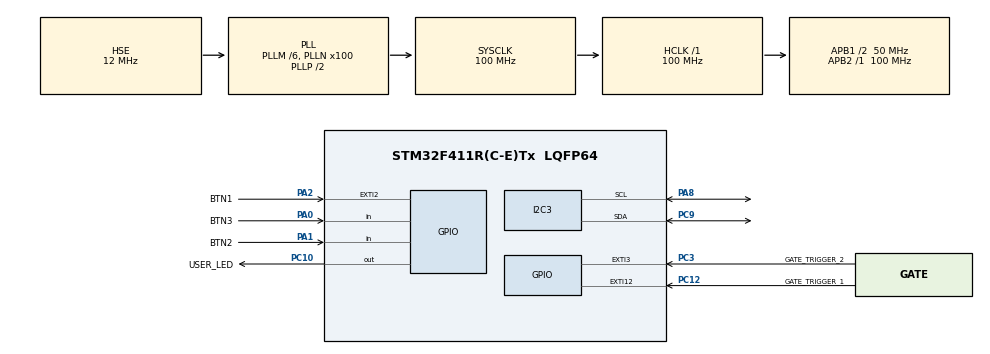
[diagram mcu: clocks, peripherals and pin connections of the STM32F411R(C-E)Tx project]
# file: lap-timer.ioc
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I2C3.I2C_Mode=I2C_Fast
Mcu.Family=STM32F4
Mcu.Name=STM32F411R(C-E)Tx
Mcu.Package=LQFP64
NVIC.EXTI15_10_IRQn=true\:0\:0\:false\:false\:true\:true\:true\:true
NVIC.EXTI2_IRQn=true\:0\:0\:false\:false\:true\:true\:true\:true
NVIC.EXTI3_IRQn=true\:0\:0\:false\:false\:true\:true\:true\:true
NVIC.PriorityGroup=NVIC_PRIORITYGROUP_4
PA0-WKUP.GPIO_Label=BTN3
PA0-WKUP.GPIO_PuPd=GPIO_PULLUP
PA0-WKUP.Signal=GPIO_Input
PA1.GPIO_Label=BTN2
PA1.GPIO_PuPd=GPIO_PULLUP
PA1.Signal=GPIO_Input
PA2.GPIO_Label=BTN1
PA2.GPIO_PuPd=GPIO_PULLUP
PA2.Signal=GPXTI2
PA8.Mode=I2C
PA8.Signal=I2C3_SCL
PC10.GPIO_Label=USER_LED
PC10.Signal=GPIO_Output
PC12.GPIO_Label=GATE_TRIGGER_1
PC12.GPIO_ModeDefaultEXTI=GPIO_MODE_IT_RISING
PC12.GPIO_PuPd=GPIO_PULLUP
PC12.Signal=GPXTI12
PC3.GPIO_Label=GATE_TRIGGER_2
PC3.GPIO_PuPd=GPIO_PULLUP
PC3.Signal=GPXTI3
PC9.Mode=I2C
PC9.Signal=I2C3_SDA
PH0\ -\ OSC_IN.Mode=HSE-External-Oscillator
PH0\ -\ OSC_IN.Signal=RCC_OSC_IN
PH1\ -\ OSC_OUT.Mode=HSE-External-Oscillator
PH1\ -\ OSC_OUT.Signal=RCC_OSC_OUT
ProjectManager.HeapSize=0x200
ProjectManager.StackSize=0x400
ProjectManager.TargetToolchain=STM32CubeIDE
RCC.48MHZClocksFreq_Value=50000000
RCC.AHBFreq_Value=100000000
RCC.APB1CLKDivider=RCC_HCLK_DIV2
RCC.APB1Freq_Value=50000000
RCC.APB1TimFreq_Value=100000000
RCC.APB2Freq_Value=100000000
RCC.APB2TimFreq_Value=100000000
RCC.CortexFreq_Value=100000000
RCC.HCLKFreq_Value=100000000
RCC.HSE_VALUE=12000000
RCC.HSI_VALUE=16000000
RCC.LSE_VALUE=32768
RCC.PLLM=6
RCC.PLLN=100
RCC.PLLSourceVirtual=RCC_PLLSOURCE_HSE
RCC.SYSCLKFreq_VALUE=100000000
RCC.SYSCLKSource=RCC_SYSCLKSOURCE_PLLCLK
RCC.VCOOutputFreq_Value=200000000
TIM2.Prescaler=999
VP_TIM2_VS_ClockSourceINT.Mode=Internal
board=custom

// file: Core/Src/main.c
/* USER CODE BEGIN Header */
/**
  ******************************************************************************
  * @file           : main.c
  * @author         : Dominik Pluta
  * @brief          : Lap timer code
  *                   Measure time between interrupts from IR sensor and display
  *                   it on OLED display
  * @version        : 1.0.0
  * @date           : 28.12.2025
  ******************************************************************************
  */
/* USER CODE END Header */
#include "main.h"

/* USER CODE BEGIN Includes */
#include "display.h"
#include "sprites.h"
#include <stdio.h> // For sprintf
/* USER CODE END Includes */

/* USER CODE BEGIN PD */
// STM32F411RE Sector 7 address (128KB sector)
#define FLASH_STORAGE_ADDR 0x08060000
/* USER CODE END PD */

I2C_HandleTypeDef hi2c3;

TIM_HandleTypeDef htim2;

/* USER CODE BEGIN PV */
volatile uint8_t timer_state = 0; // 0: IDLE, 1: RUNNING, 2: FINISHED
volatile uint32_t captured_time_ticks = 0;
volatile uint32_t last_trigger_sys_time = 0;

uint32_t best_time_ticks = 0xFFFFFFFF; // Default to "Empty"

#define TIME_DISPLAY_X 1
#define TIME_DISPLAY_Y 22

// DISPLAY RESOLUTION MODES
typedef enum {
    RES_MODE_MS,   // Minutes : Seconds : Milliseconds  (MM:SS:MMM)
    RES_MODE_US    // Seconds : Milliseconds : Microsec (SSS:MMM:UUU) (microsec resolution down to 10us ticks)
} display_res_mode_t;

volatile display_res_mode_t display_mode = RES_MODE_MS;
/* USER CODE END PV */

void SystemClock_Config(void);
static void MX_GPIO_Init(void);
static void MX_I2C3_Init(void);
static void MX_TIM2_Init(void);

/* USER CODE BEGIN 0 */

// --- INTERRUPT CALLBACK ---
void HAL_GPIO_EXTI_Callback(uint16_t GPIO_Pin)
{
    if(GPIO_Pin == GATE_TRIGGER_1_Pin || GPIO_Pin == GATE_TRIGGER_2_Pin || GPIO_Pin == BTN1_Pin)
    {
        uint32_t now = HAL_GetTick();
        if ((now - last_trigger_sys_time) > 1000)
        {
            last_trigger_sys_time = now;

            if(timer_state == 0 || timer_state == 2) // Start
            {
                __HAL_TIM_SET_COUNTER(&htim2, 0);
                timer_state = 1;
            }
            else if(timer_state == 1) // Stop
            {
                captured_time_ticks = __HAL_TIM_GET_COUNTER(&htim2);
                timer_state = 2;
            }
        }
    }
}

// --- Helper: Erase Sector 7 and Write a single 32-bit value ---
void Save_Best_Time(uint32_t ticks)
{
    HAL_FLASH_Unlock();

    FLASH_EraseInitTypeDef EraseInitStruct;
    uint32_t SectorError;

    EraseInitStruct.TypeErase    = FLASH_TYPEERASE_SECTORS;
    EraseInitStruct.Sector       = FLASH_SECTOR_7; // Sector 7 (0x08060000)
    EraseInitStruct.NbSectors    = 1;
    EraseInitStruct.VoltageRange = FLASH_VOLTAGE_RANGE_3; // 2.7V to 3.6V

    // Note: This might freeze the CPU for 1-2 seconds!
    if (HAL_FLASHEx_Erase(&EraseInitStruct, &SectorError) == HAL_OK)
    {
        HAL_FLASH_Program(FLASH_TYPEPROGRAM_WORD, FLASH_STORAGE_ADDR, ticks);
    }

    HAL_FLASH_Lock();
}

/* Change the 4th parameter to display_font_t */
void display_formatted_time(int x, int y, uint32_t time_ms, display_font_t font) {
    char buf[20];

    uint32_t total_seconds = time_ms / 1000;
    uint32_t minutes = (total_seconds / 60) % 100;
    uint32_t seconds = total_seconds % 60;
    uint32_t milliseconds = time_ms % 1000;

    // Format string into a temporary buffer
    // MM:SS:MMM
    sprintf(buf, "%02lu:%02lu:%03lu", (unsigned long)minutes, (unsigned long)seconds, (unsigned long)milliseconds);

    // Pass the font directly to display_printf
    display_printf(x, y, DISPLAY_COLOR_WHITE, font, "%s", buf);
}

// Main Display function for the large timer (MM:SS:MMM)
void display_time_large(uint32_t time_ms){
    uint32_t ms = time_ms % 1000;
    uint32_t sec = (time_ms / 1000) % 60;
    uint32_t min = (time_ms / 60000) % 99;

    // Minutes
    display_printf(TIME_DISPLAY_X, TIME_DISPLAY_Y, DISPLAY_COLOR_WHITE, display_font_16x26, "%02lu", (unsigned long)min);
    display_bitmap(TIME_DISPLAY_X+(2*16), TIME_DISPLAY_Y+3, DISPLAY_COLOR_BLACK, bitmap_deliminator_8_16, 8, 16);

    // Seconds
    display_printf(TIME_DISPLAY_X+(2*16)+7, TIME_DISPLAY_Y, DISPLAY_COLOR_WHITE, display_font_16x26, "%02lu", (unsigned long)sec);
    display_bitmap(TIME_DISPLAY_X+(2*16)+7+(2*16), TIME_DISPLAY_Y+3, DISPLAY_COLOR_BLACK, bitmap_deliminator_8_16, 8, 16);

    // Milliseconds
    display_printf(TIME_DISPLAY_X+(2*16)+7+(2*16)+7, TIME_DISPLAY_Y, DISPLAY_COLOR_WHITE, display_font_16x26, "%03lu", (unsigned long)ms);

    display_line(0, TIME_DISPLAY_Y+37, 127, TIME_DISPLAY_Y+37, DISPLAY_COLOR_WHITE);
    display_printf(5, TIME_DISPLAY_Y+27, DISPLAY_COLOR_WHITE, display_font_7x10, "min | sec |  ms");}

// Show high-resolution time using the large font layout.
// Input: ticks = TIM2 counter (each tick = 10 us)
void display_time_highres_large_from_ticks(uint32_t ticks) {
    // Convert ticks -> total microseconds
    uint64_t total_us = (uint64_t)ticks * 10ULL;

    // Derive components
    uint32_t sec = (uint32_t)(total_us / 1000000ULL);         // seconds (may be >99)
    uint32_t ms  = (uint32_t)((total_us / 1000ULL) % 1000ULL); // milliseconds 0..999
    uint32_t micro10 = (uint32_t)((total_us % 1000ULL) / 10ULL); // 10us units 0..99

    // Cap seconds to two digits for display (if >99 you can show 99)
    if (sec > 99) sec = 99;

    // Draw using the same positions as display_time_large so it fits
    // Left: seconds (2 digits)
    display_printf(TIME_DISPLAY_X, TIME_DISPLAY_Y, DISPLAY_COLOR_WHITE, display_font_16x26, "%02lu", (unsigned long)sec);

    // colon/separator
    display_bitmap(TIME_DISPLAY_X+(2*16), TIME_DISPLAY_Y+3, DISPLAY_COLOR_BLACK, bitmap_deliminator_8_16, 8, 16);

    // Middle: milliseconds (3 digits)
    display_printf(TIME_DISPLAY_X+(2*16)+7, TIME_DISPLAY_Y, DISPLAY_COLOR_WHITE, display_font_16x26, "%03lu", (unsigned long)ms);

    // colon/separator
    display_bitmap(TIME_DISPLAY_X+(2*16)+7+(3*16), TIME_DISPLAY_Y+3, DISPLAY_COLOR_BLACK, bitmap_deliminator_8_16, 8, 16);

    // Right: microseconds in 10us units (2 digits)
    // We print %02lu so it uses two digits and fits into the rightmost digit space.
    display_printf(TIME_DISPLAY_X+(2*16)+7+(3*16)+7, TIME_DISPLAY_Y, DISPLAY_COLOR_WHITE, display_font_16x26, "%02lu", (unsigned long)micro10);

    display_line(0, TIME_DISPLAY_Y+37, 127, TIME_DISPLAY_Y+37, DISPLAY_COLOR_WHITE);
	display_printf(5, TIME_DISPLAY_Y+27, DISPLAY_COLOR_WHITE, display_font_7x10, "sec |  ms  |  us");
}

/* USER CODE END 0 */

int main(void)
{

  /* USER CODE BEGIN 1 */
  uint32_t btn3_press_start = 0;
  uint8_t btn3_action_done = 0;

  // BTN2 edge detection / debounce
  uint16_t prev_btn2_state = GPIO_PIN_SET; // assume not pressed (pullup)
  uint32_t btn2_press_time = 0;
  const uint32_t BTN2_DEBOUNCE_MS = 50; // debounce threshold
  /* USER CODE END 1 */

  /* MCU Configuration--------------------------------------------------------*/

  /* Reset of all peripherals, Initializes the Flash interface and the Systick. */
  HAL_Init();

  /* Configure the system clock */
  SystemClock_Config();

  /* Initialize all configured peripherals */
  MX_GPIO_Init();
  MX_I2C3_Init();
  MX_TIM2_Init();
  /* USER CODE BEGIN 2 */
  HAL_Delay(100);
  display_init();

  // --- Load Best Time from Flash ---
  best_time_ticks = *(__IO uint32_t *)FLASH_STORAGE_ADDR;

  // Sanity check: if flash was empty (0xFFFFFFFF), treat as "No Time"
  if(best_time_ticks == 0xFFFFFFFF) best_time_ticks = 0;

  display_fill(DISPLAY_COLOR_BLACK);
  display_bitmap(0, 0, DISPLAY_COLOR_BLACK, bitmap_lap_timer_logo_128_64, 128, 64);
  display_render();

  HAL_Delay(2000);
  display_fill(DISPLAY_COLOR_BLACK);
  display_render();

  HAL_TIM_Base_Start(&htim2);
  /* USER CODE END 2 */

  /* Infinite loop */
  /* USER CODE BEGIN WHILE */
  while (1)
  {
      // --- BTN3 Logic (Short Press = Reset Current, Long Press = Reset Best) ---
      if(HAL_GPIO_ReadPin(BTN3_GPIO_Port, BTN3_Pin) == GPIO_PIN_RESET) // Button is Pressed (active low)
      {
          if(btn3_press_start == 0) {
              btn3_press_start = HAL_GetTick(); // Start timer
          }

          // Check for Long Press while holding
          if((HAL_GetTick() - btn3_press_start > 2000) && !btn3_action_done)
          {
              best_time_ticks = 0; // Reset variable
              Save_Best_Time(0);   // Erase Flash

              // Visual Feedback
              display_fill(DISPLAY_COLOR_BLACK);
              display_printf(10, 30, DISPLAY_COLOR_WHITE, display_font_7x10, "RESET BEST!");
              display_render();
              HAL_Delay(1000);

              btn3_action_done = 1; // Prevent repeated triggers
          }
      }
      else // Button is Released
      {
          // If we were pressing the button...
          if(btn3_press_start != 0)
          {
              // Check if it was a Short Press (and not already handled as a long press)
              if(!btn3_action_done && (HAL_GetTick() - btn3_press_start < 2000))
              {
                  // --- SHORT PRESS ACTION: Reset Current Timer ---
                  timer_state = 0;        // Go back to IDLE
                  captured_time_ticks = 0; // Clear captured result
                  __HAL_TIM_SET_COUNTER(&htim2, 0); // Reset hardware timer
              }

              // Reset flags
              btn3_press_start = 0;
              btn3_action_done = 0;
          }
      }
      // ---------------------------------------

      // --- BTN2: toggle resolution on a short press (debounced) ---
      uint16_t curr_btn2 = HAL_GPIO_ReadPin(BTN2_GPIO_Port, BTN2_Pin);
      if(curr_btn2 == GPIO_PIN_RESET && prev_btn2_state == GPIO_PIN_SET) {
          // button pressed down
          btn2_press_time = HAL_GetTick();
      }
      else if(curr_btn2 == GPIO_PIN_SET && prev_btn2_state == GPIO_PIN_RESET) {
          // button released -> consider it a valid press if held > debounce
          if(btn2_press_time != 0 && (HAL_GetTick() - btn2_press_time) > BTN2_DEBOUNCE_MS) {
              // toggle display mode
              if(display_mode == RES_MODE_MS) display_mode = RES_MODE_US;
              else display_mode = RES_MODE_MS;

              display_fill(DISPLAY_COLOR_BLACK);
              // provide small feedback
//              if(display_mode == RES_MODE_MS) {
//                  display_printf(10, 30, DISPLAY_COLOR_WHITE, display_font_7x10, "MODE: MM:SS:MS");
//              } else {
//                  display_printf(10, 30, DISPLAY_COLOR_WHITE, display_font_7x10, "MODE: SS:MS:US");
//              }
//              display_render();
//              HAL_Delay(600);
          }
          btn2_press_time = 0;
      }
      prev_btn2_state = curr_btn2;
      // ---------------------------------------

      // --- Timer Display Logic ---
      uint32_t current_ticks = 0;

      if(timer_state == 1)
      {
          // Running
          current_ticks = __HAL_TIM_GET_COUNTER(&htim2);

          if(display_mode == RES_MODE_MS) {
              // convert ticks (10us) -> ms
              display_time_large(current_ticks / 100);
          } else {
              // show high-res mode directly from ticks
        	  display_time_highres_large_from_ticks(current_ticks);
          }
      }
      else if(timer_state == 2)
      {
          // Finished
          if(display_mode == RES_MODE_MS) {
              display_time_large(captured_time_ticks / 100);
          } else {
        	  display_time_highres_large_from_ticks(captured_time_ticks);
          }

          // Check for New Record (Logic runs once when state hits 2)
          static uint8_t saved_flag = 0;
          static uint32_t last_captured = 0;

          if(captured_time_ticks != last_captured) {
              saved_flag = 0; // New lap detected
              last_captured = captured_time_ticks;
          }

          if(saved_flag == 0)
          {
              // If valid time (>1 sec) AND (First run OR Better time)
              if(captured_time_ticks > 100000 && (best_time_ticks == 0 || captured_time_ticks < best_time_ticks))
              {
                  best_time_ticks = captured_time_ticks;

                  display_printf(0, 0, DISPLAY_COLOR_WHITE, display_font_6x8, "SAVING...     ");
                  display_render();

                  Save_Best_Time(best_time_ticks);
              }
              saved_flag = 1; // Mark as processed
          }
      }
      else
      {
          // Idle
          if(display_mode == RES_MODE_MS) {
              display_time_large(0);
          } else {
        	  display_time_highres_large_from_ticks(0);
          }
      }

      // --- Render Best Time (top-left) ---
      display_printf(0, 0, DISPLAY_COLOR_WHITE, display_font_6x8, "BEST:");
      if(best_time_ticks > 0 && best_time_ticks != 0xFFFFFFFF) {
          if(display_mode == RES_MODE_MS) {
              // best_time_ticks -> ms
              display_formatted_time(30, 0, best_time_ticks/100, display_font_6x8);
          } else {
              // show best time in highres: compute total_us and print SS:MMM:UUU with small font
              uint64_t total_us = (uint64_t)best_time_ticks * 10ULL;
              uint32_t us = total_us % 1000;
              uint32_t ms = (total_us / 1000) % 1000;
              uint32_t sec = (uint32_t)(total_us / 1000000ULL);
              display_printf(30, 0, DISPLAY_COLOR_WHITE, display_font_6x8, "%03lu:%03lu:%03lu",
                             (unsigned long)sec, (unsigned long)ms, (unsigned long)us);
          }
      } else {
          display_printf(30, 0, DISPLAY_COLOR_WHITE, display_font_6x8, "--:--:---");
      }

      display_render();

    /* USER CODE END WHILE */

  }
}

void SystemClock_Config(void)
{
  RCC_OscInitTypeDef RCC_OscInitStruct = {0};
  RCC_ClkInitTypeDef RCC_ClkInitStruct = {0};

  /** Configure the main internal regulator output voltage
  */
  __HAL_RCC_PWR_CLK_ENABLE();
  __HAL_PWR_VOLTAGESCALING_CONFIG(PWR_REGULATOR_VOLTAGE_SCALE1);

  /** Initializes the RCC Oscillators according to the specified parameters
  * in the RCC_OscInitTypeDef structure.
  */
  RCC_OscInitStruct.OscillatorType = RCC_OSCILLATORTYPE_HSE;
  RCC_OscInitStruct.HSEState = RCC_HSE_ON;
  RCC_OscInitStruct.PLL.PLLState = RCC_PLL_ON;
  RCC_OscInitStruct.PLL.PLLSource = RCC_PLLSOURCE_HSE;
  RCC_OscInitStruct.PLL.PLLM = 6;
  RCC_OscInitStruct.PLL.PLLN = 100;
  RCC_OscInitStruct.PLL.PLLP = RCC_PLLP_DIV2;
  RCC_OscInitStruct.PLL.PLLQ = 4;
  if (HAL_RCC_OscConfig(&RCC_OscInitStruct) != HAL_OK)
  {
    Error_Handler();
  }

  /** Initializes the CPU, AHB and APB buses clocks
  */
  RCC_ClkInitStruct.ClockType = RCC_CLOCKTYPE_HCLK|RCC_CLOCKTYPE_SYSCLK
                              |RCC_CLOCKTYPE_PCLK1|RCC_CLOCKTYPE_PCLK2;
  RCC_ClkInitStruct.SYSCLKSource = RCC_SYSCLKSOURCE_PLLCLK;
  RCC_ClkInitStruct.AHBCLKDivider = RCC_SYSCLK_DIV1;
  RCC_ClkInitStruct.APB1CLKDivider = RCC_HCLK_DIV2;
  RCC_ClkInitStruct.APB2CLKDivider = RCC_HCLK_DIV1;

  if (HAL_RCC_ClockConfig(&RCC_ClkInitStruct, FLASH_LATENCY_3) != HAL_OK)
  {
    Error_Handler();
  }
}

static void MX_I2C3_Init(void)
{

  hi2c3.Instance = I2C3;
  hi2c3.Init.ClockSpeed = 400000;
  hi2c3.Init.DutyCycle = I2C_DUTYCYCLE_2;
  hi2c3.Init.OwnAddress1 = 0;
  hi2c3.Init.AddressingMode = I2C_ADDRESSINGMODE_7BIT;
  hi2c3.Init.DualAddressMode = I2C_DUALADDRESS_DISABLE;
  hi2c3.Init.OwnAddress2 = 0;
  hi2c3.Init.GeneralCallMode = I2C_GENERALCALL_DISABLE;
  hi2c3.Init.NoStretchMode = I2C_NOSTRETCH_DISABLE;
  if (HAL_I2C_Init(&hi2c3) != HAL_OK)
  {
    Error_Handler();
  }

}

static void MX_TIM2_Init(void)
{

  TIM_ClockConfigTypeDef sClockSourceConfig = {0};
  TIM_MasterConfigTypeDef sMasterConfig = {0};

  htim2.Instance = TIM2;
  htim2.Init.Prescaler = 999;
  htim2.Init.CounterMode = TIM_COUNTERMODE_UP;
  htim2.Init.Period = 4294967295;
  htim2.Init.ClockDivision = TIM_CLOCKDIVISION_DIV1;
  htim2.Init.AutoReloadPreload = TIM_AUTORELOAD_PRELOAD_DISABLE;
  if (HAL_TIM_Base_Init(&htim2) != HAL_OK)
  {
    Error_Handler();
  }
  sClockSourceConfig.ClockSource = TIM_CLOCKSOURCE_INTERNAL;
  if (HAL_TIM_ConfigClockSource(&htim2, &sClockSourceConfig) != HAL_OK)
  {
    Error_Handler();
  }
  sMasterConfig.MasterOutputTrigger = TIM_TRGO_RESET;
  sMasterConfig.MasterSlaveMode = TIM_MASTERSLAVEMODE_DISABLE;
  if (HAL_TIMEx_MasterConfigSynchronization(&htim2, &sMasterConfig) != HAL_OK)
  {
    Error_Handler();
  }

}

static void MX_GPIO_Init(void)
{
  GPIO_InitTypeDef GPIO_InitStruct = {0};

  /* GPIO Ports Clock Enable */
  __HAL_RCC_GPIOH_CLK_ENABLE();
  __HAL_RCC_GPIOC_CLK_ENABLE();
  __HAL_RCC_GPIOA_CLK_ENABLE();

  /*Configure GPIO pin Output Level */
  HAL_GPIO_WritePin(USER_LED_GPIO_Port, USER_LED_Pin, GPIO_PIN_RESET);

  /*Configure GPIO pins : GATE_TRIGGER_2_Pin GATE_TRIGGER_1_Pin */
  GPIO_InitStruct.Pin = GATE_TRIGGER_2_Pin|GATE_TRIGGER_1_Pin;
  GPIO_InitStruct.Mode = GPIO_MODE_IT_RISING;
  GPIO_InitStruct.Pull = GPIO_PULLUP;
  HAL_GPIO_Init(GPIOC, &GPIO_InitStruct);

  /*Configure GPIO pins : BTN3_Pin BTN2_Pin */
  GPIO_InitStruct.Pin = BTN3_Pin|BTN2_Pin;
  GPIO_InitStruct.Mode = GPIO_MODE_INPUT;
  GPIO_InitStruct.Pull = GPIO_PULLUP;
  HAL_GPIO_Init(GPIOA, &GPIO_InitStruct);

  /*Configure GPIO pin : BTN1_Pin */
  GPIO_InitStruct.Pin = BTN1_Pin;
  GPIO_InitStruct.Mode = GPIO_MODE_IT_RISING;
  GPIO_InitStruct.Pull = GPIO_PULLUP;
  HAL_GPIO_Init(BTN1_GPIO_Port, &GPIO_InitStruct);

  /*Configure GPIO pin : USER_LED_Pin */
  GPIO_InitStruct.Pin = USER_LED_Pin;
  GPIO_InitStruct.Mode = GPIO_MODE_OUTPUT_PP;
  GPIO_InitStruct.Pull = GPIO_NOPULL;
  GPIO_InitStruct.Speed = GPIO_SPEED_FREQ_LOW;
  HAL_GPIO_Init(USER_LED_GPIO_Port, &GPIO_InitStruct);

  /* EXTI interrupt init*/
  HAL_NVIC_SetPriority(EXTI2_IRQn, 0, 0);
  HAL_NVIC_EnableIRQ(EXTI2_IRQn);

  HAL_NVIC_SetPriority(EXTI3_IRQn, 0, 0);
  HAL_NVIC_EnableIRQ(EXTI3_IRQn);

  HAL_NVIC_SetPriority(EXTI15_10_IRQn, 0, 0);
  HAL_NVIC_EnableIRQ(EXTI15_10_IRQn);

}

void Error_Handler(void)
{
  __disable_irq();
  while (1)
  {
  }
}
